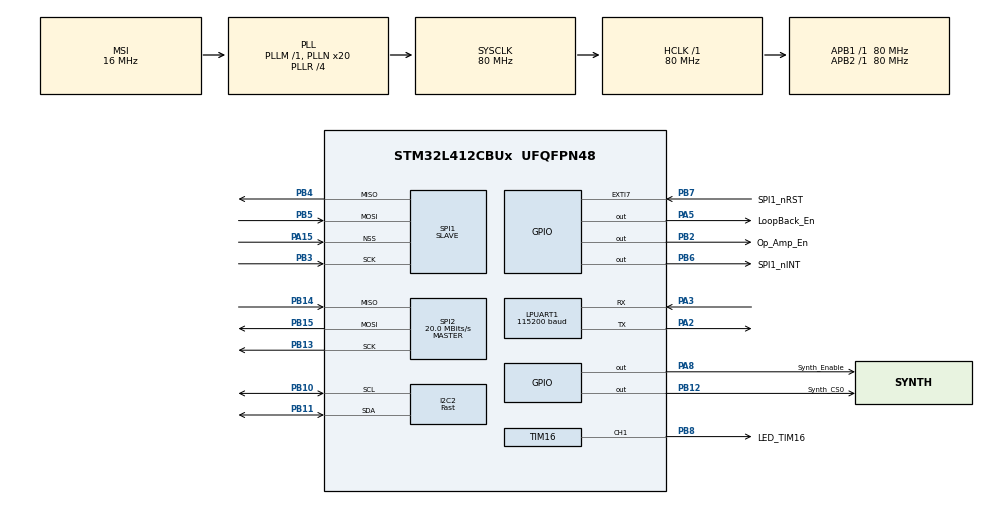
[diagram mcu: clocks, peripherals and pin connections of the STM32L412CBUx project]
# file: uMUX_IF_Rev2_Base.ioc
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Dma.LPUART_TX.0.Direction=DMA_MEMORY_TO_PERIPH
Dma.LPUART_TX.0.Instance=DMA2_Channel6
Dma.LPUART_TX.0.MemDataAlignment=DMA_MDATAALIGN_BYTE
Dma.LPUART_TX.0.MemInc=DMA_MINC_ENABLE
Dma.LPUART_TX.0.Mode=DMA_NORMAL
Dma.LPUART_TX.0.PeriphDataAlignment=DMA_PDATAALIGN_BYTE
Dma.LPUART_TX.0.PeriphInc=DMA_PINC_DISABLE
Dma.LPUART_TX.0.Priority=DMA_PRIORITY_LOW
Dma.Request0=LPUART_TX
Dma.Request1=SPI1_RX
Dma.Request2=SPI1_TX
Dma.Request3=SPI2_RX
Dma.Request4=SPI2_TX
Dma.SPI1_RX.1.Direction=DMA_PERIPH_TO_MEMORY
Dma.SPI1_RX.1.Instance=DMA1_Channel2
Dma.SPI1_RX.1.MemDataAlignment=DMA_MDATAALIGN_BYTE
Dma.SPI1_RX.1.MemInc=DMA_MINC_ENABLE
Dma.SPI1_RX.1.Mode=DMA_NORMAL
Dma.SPI1_RX.1.PeriphDataAlignment=DMA_PDATAALIGN_BYTE
Dma.SPI1_RX.1.PeriphInc=DMA_PINC_DISABLE
Dma.SPI1_RX.1.Priority=DMA_PRIORITY_HIGH
Dma.SPI1_TX.2.Direction=DMA_MEMORY_TO_PERIPH
Dma.SPI1_TX.2.Instance=DMA1_Channel3
Dma.SPI1_TX.2.MemDataAlignment=DMA_MDATAALIGN_BYTE
Dma.SPI1_TX.2.MemInc=DMA_MINC_ENABLE
Dma.SPI1_TX.2.Mode=DMA_NORMAL
Dma.SPI1_TX.2.PeriphDataAlignment=DMA_PDATAALIGN_BYTE
Dma.SPI1_TX.2.PeriphInc=DMA_PINC_DISABLE
Dma.SPI1_TX.2.Priority=DMA_PRIORITY_HIGH
Dma.SPI2_RX.3.Direction=DMA_PERIPH_TO_MEMORY
Dma.SPI2_RX.3.Instance=DMA1_Channel4
Dma.SPI2_RX.3.MemDataAlignment=DMA_MDATAALIGN_BYTE
Dma.SPI2_RX.3.MemInc=DMA_MINC_ENABLE
Dma.SPI2_RX.3.Mode=DMA_NORMAL
Dma.SPI2_RX.3.PeriphDataAlignment=DMA_PDATAALIGN_BYTE
Dma.SPI2_RX.3.PeriphInc=DMA_PINC_DISABLE
Dma.SPI2_RX.3.Priority=DMA_PRIORITY_LOW
Dma.SPI2_TX.4.Direction=DMA_MEMORY_TO_PERIPH
Dma.SPI2_TX.4.Instance=DMA1_Channel5
Dma.SPI2_TX.4.MemDataAlignment=DMA_MDATAALIGN_BYTE
Dma.SPI2_TX.4.MemInc=DMA_MINC_ENABLE
Dma.SPI2_TX.4.Mode=DMA_NORMAL
Dma.SPI2_TX.4.PeriphDataAlignment=DMA_PDATAALIGN_BYTE
Dma.SPI2_TX.4.PeriphInc=DMA_PINC_DISABLE
Dma.SPI2_TX.4.Priority=DMA_PRIORITY_LOW
I2C2.I2C_Speed_Mode=I2C_Fast
I2C2.NoStretchMode=I2C_NOSTRETCH_ENABLE
I2C2.Timing=0x00F12981
LPUART1.BaudRate=115200
Mcu.Family=STM32L4
Mcu.Name=STM32L412CBUx
Mcu.Package=UFQFPN48
NVIC.DMA1_Channel2_IRQn=true\:0\:0\:false\:false\:true\:false\:true\:true
NVIC.DMA1_Channel3_IRQn=true\:0\:0\:false\:false\:true\:false\:true\:true
NVIC.DMA1_Channel4_IRQn=true\:0\:0\:false\:false\:true\:false\:true\:true
NVIC.DMA1_Channel5_IRQn=true\:0\:0\:false\:false\:true\:false\:true\:true
NVIC.DMA2_Channel6_IRQn=true\:0\:0\:false\:false\:true\:false\:true\:true
NVIC.EXTI9_5_IRQn=true\:0\:0\:false\:false\:true\:true\:true\:true
NVIC.FLASH_IRQn=true\:0\:0\:false\:false\:true\:true\:true\:true
NVIC.I2C2_EV_IRQn=true\:0\:0\:false\:false\:true\:true\:true\:true
NVIC.LPUART1_IRQn=true\:0\:0\:false\:false\:true\:true\:true\:true
NVIC.PriorityGroup=NVIC_PRIORITYGROUP_4
NVIC.RCC_IRQn=true\:0\:0\:false\:false\:true\:true\:false\:true
NVIC.SPI1_IRQn=true\:0\:0\:false\:false\:true\:true\:true\:true
NVIC.TIM1_UP_TIM16_IRQn=true\:15\:0\:false\:false\:true\:false\:true\:true
NVIC.TIM6_IRQn=true\:0\:0\:false\:false\:true\:true\:true\:true
PA13\ (JTMS/SWDIO).Mode=Serial_Wire
PA13\ (JTMS/SWDIO).Signal=SYS_JTMS-SWDIO
PA14\ (JTCK/SWCLK).Mode=Serial_Wire
PA14\ (JTCK/SWCLK).Signal=SYS_JTCK-SWCLK
PA15\ (JTDI).GPIO_PuPd=GPIO_PULLUP
PA15\ (JTDI).Mode=NSS_Signal_Hard_Input
PA15\ (JTDI).Signal=SPI1_NSS
PA2.Mode=Asynchronous
PA2.Signal=LPUART1_TX
PA3.Mode=Asynchronous
PA3.Signal=LPUART1_RX
PA5.GPIO_Label=LoopBack_En
PA5.PinState=GPIO_PIN_RESET
PA5.Signal=GPIO_Output
PA8.GPIO_Label=Synth_Enable
PA8.PinState=GPIO_PIN_SET
PA8.Signal=GPIO_Output
PB10.Mode=I2C
PB10.Signal=I2C2_SCL
PB11.Mode=I2C
PB11.Signal=I2C2_SDA
PB12.GPIO_Label=Synth_CS0
PB12.GPIO_Speed=GPIO_SPEED_FREQ_HIGH
PB12.PinState=GPIO_PIN_SET
PB12.Signal=GPIO_Output
PB13.GPIO_Speed=GPIO_SPEED_FREQ_VERY_HIGH
PB13.Mode=Full_Duplex_Master
PB13.Signal=SPI2_SCK
PB14.GPIO_Speed=GPIO_SPEED_FREQ_VERY_HIGH
PB14.Mode=Full_Duplex_Master
PB14.Signal=SPI2_MISO
PB15.GPIO_Speed=GPIO_SPEED_FREQ_VERY_HIGH
PB15.Mode=Full_Duplex_Master
PB15.Signal=SPI2_MOSI
PB2.GPIO_Label=Op_Amp_En
PB2.PinState=GPIO_PIN_SET
PB2.Signal=GPIO_Output
PB3\ (JTDO/TRACESWO).Mode=Full_Duplex_Slave
PB3\ (JTDO/TRACESWO).Signal=SPI1_SCK
PB4\ (NJTRST).Mode=Full_Duplex_Slave
PB4\ (NJTRST).Signal=SPI1_MISO
PB5.Mode=Full_Duplex_Slave
PB5.Signal=SPI1_MOSI
PB6.GPIO_FM6=SYSCFG_FASTMODEPLUS_PB6
PB6.GPIO_Label=SPI1_nINT
PB6.GPIO_ModeDefaultOutputPP=GPIO_MODE_OUTPUT_OD
PB6.GPIO_PuPd=GPIO_PULLUP
PB6.GPIO_Speed=GPIO_SPEED_FREQ_VERY_HIGH
PB6.PinState=GPIO_PIN_SET
PB6.Signal=GPIO_Output
PB7.GPIO_Label=SPI1_nRST
PB7.GPIO_ModeDefaultEXTI=GPIO_MODE_IT_FALLING
PB7.GPIO_PuPd=GPIO_PULLUP
PB7.Signal=GPXTI7
PB8.GPIO_Label=LED_TIM16
PB8.Signal=S_TIM16_CH1
PC14-OSC32_IN\ (PC14).Mode=LSE-External-Clock-Source
PC14-OSC32_IN\ (PC14).Signal=RCC_OSC32_IN
ProjectManager.HeapSize=0x200
ProjectManager.StackSize=0x400
ProjectManager.TargetToolchain=STM32CubeIDE
RCC.ADCFreq_Value=80000000
RCC.AHBFreq_Value=80000000
RCC.APB1Freq_Value=80000000
RCC.APB1TimFreq_Value=80000000
RCC.APB2Freq_Value=80000000
RCC.APB2TimFreq_Value=80000000
RCC.CortexFreq_Value=80000000
RCC.HCLKFreq_Value=80000000
RCC.HSE_VALUE=8000000
RCC.HSI48_VALUE=48000000
RCC.HSI_VALUE=16000000
RCC.LPUART1CLockSelection=RCC_LPUART1CLKSOURCE_HSI
RCC.LSE_Timout=1000
RCC.LSE_VALUE=32768
RCC.MSIClockRange=RCC_MSIRANGE_8
RCC.MSI_VALUE=16000000
RCC.PLLN=20
RCC.PLLR=RCC_PLLR_DIV4
RCC.PREFETCH_ENABLE=1
RCC.SYSCLKFreq_VALUE=80000000
RCC.SYSCLKSource=RCC_SYSCLKSOURCE_PLLCLK
RCC.USBFreq_Value=16000000
RCC.VCOOutputFreq_Value=320000000
SH.S_TIM16_CH1.0=TIM16_CH1,PWM Generation1 CH1
SPI1.DataSize=SPI_DATASIZE_8BIT
SPI1.Direction=SPI_DIRECTION_2LINES
SPI1.Mode=SPI_MODE_SLAVE
SPI1.VirtualNSS=VM_NSSHARD
SPI1.VirtualType=VM_SLAVE
SPI2.BaudRatePrescaler=SPI_BAUDRATEPRESCALER_4
SPI2.CalculateBaudRate=20.0 MBits/s
SPI2.DataSize=SPI_DATASIZE_8BIT
SPI2.Direction=SPI_DIRECTION_2LINES
SPI2.Mode=SPI_MODE_MASTER
SPI2.NSSPMode=SPI_NSS_PULSE_DISABLE
SPI2.VirtualType=VM_MASTER
SYS.PVDLevel=PWR_PVDLEVEL_6
TIM16.AutoReloadPreload=TIM_AUTORELOAD_PRELOAD_ENABLE
TIM16.Channel=TIM_CHANNEL_1
TIM16.OC1Preload_PWM=ENABLE
TIM16.OCIdleState_1=TIM_OCIDLESTATE_SET
TIM16.OCMode_PWM=TIM_OCMODE_PWM1
TIM16.OCPolarity_1=TIM_OCPOLARITY_LOW
TIM16.Period=40
TIM16.Prescaler=40000
TIM16.Pulse=19
TIM6.AutoReloadPreload=TIM_AUTORELOAD_PRELOAD_ENABLE
TIM6.Period=20000
TIM6.Prescaler=40000
TIM6.TIM_MasterOutputTrigger=TIM_TRGO_ENABLE
VP_SYS_V_PVD_IN.Mode=Mode_PVD_Int
VP_TIM16_VS_ClockSourceINT.Mode=Enable_Timer
VP_TIM16_VS_OPM.Mode=OPM_bit
VP_TIM6_VS_ClockSourceINT.Mode=Enable_Timer
board=custom

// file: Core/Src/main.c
/* USER CODE BEGIN Header */
/**
  ******************************************************************************
  * @file           : main.c
  * @brief          : Main program body
  ******************************************************************************
  * @attention
  *
  * Copyright (c) 2024 STMicroelectronics.
  * All rights reserved.
  *
  * This software is licensed under terms that can be found in the LICENSE file
  * in the root directory of this software component.
  * If no LICENSE file comes with this software, it is provided AS-IS.
  *
  ******************************************************************************
  */
/* USER CODE END Header */
#include "main.h"
#include "dma.h"
#include "i2c.h"
#include "usart.h"
#include "spi.h"
#include "tim.h"
#include "gpio.h"

/* USER CODE BEGIN Includes */
#include "reg_map.h"
#include "pcb.h"
#include <string.h>	// Just for memcpy and memcmp
/* USER CODE END Includes */

/* USER CODE BEGIN PD */
//    Internal EEPROM Address
//#define INTEEPROM_BAR	0x080080000
#define INTEEPROM_BAR	FLASH_BASE + FLASH_BANK_SIZE - (FLASH_PAGE_SIZE * 2)
#define INTEEPROM_BOARD_INFO_BYTES 112
//	Defined to be 1kB only because we have so much ram on the chip
#define MAX_SPI_TRANSMISSION_SIZE 1024
#define TX_MEM_SIZE MAX_SPI_TRANSMISSION_SIZE + 1
#define RX_MEM_SIZE TX_MEM_SIZE
/* USER CODE END PD */

/* USER CODE BEGIN PV */
uint8_t rx_mem[RX_MEM_SIZE] = {0x00};
uint8_t tx_mem[TX_MEM_SIZE] = {0x00};

uint8_t cmd_val = 0x00;
uint8_t read_nWrite_bit = 0x0; // Read_not_Write bit, following I2C convention

HAL_StatusTypeDef status = HAL_OK;

volatile uint8_t overheat_flag = 0x00;		// Flag to state that the Synth has been turned off
volatile uint8_t reg_isr = 0x00;			// Not used
volatile uint8_t reg_isr_mask = 0x00;		// Not used
volatile uint8_t time_to_read_temp = 0x00;	// Flag that states to read the temperatures and compare the temp to threshold

uint8_t reg_synth_temp_thld[2] = {0xD4, 0x1C};
uint8_t reg_side_temp_thld[2] = {0xAF, 0x8A};

extern DMA_HandleTypeDef    hdma_spi1_tx;
extern I2C_HandleTypeDef    hi2c2;
extern SPI_HandleTypeDef    hspi1;
extern SPI_HandleTypeDef  	hspi2;

// nBytes is used for the SPI loop back command
uint32_t nBytes = 0x00;

/* USER CODE END PV */

void SystemClock_Config(void);
/* USER CODE BEGIN PFP */
void per_read_temperatures(void);
/* USER CODE END PFP */

int main(void)
{

  /* MCU Configuration--------------------------------------------------------*/

  /* Reset of all peripherals, Initializes the Flash interface and the Systick. */
  HAL_Init();

  /* Configure the system clock */
  SystemClock_Config();

  /* Initialize all configured peripherals */
  MX_GPIO_Init();
  MX_DMA_Init();
  MX_LPUART1_UART_Init();
  MX_SPI1_Init();
  MX_SPI2_Init();
  MX_TIM16_Init();
  MX_I2C2_Init();
  MX_TIM6_Init();
  /* USER CODE BEGIN 2 */

  /* Configure on board peripherals */
  HAL_TIM_OnePulse_Start(&htim16, TIM_CHANNEL_1);
  HAL_Delay(1000);
  __HAL_TIM_ENABLE(&htim16);
  HAL_Delay(1000);
  __HAL_TIM_ENABLE(&htim16);
  pcb_init();
  HAL_Delay(100);
  __HAL_TIM_ENABLE(&htim16);
  HAL_TIM_Base_Start_IT(&htim6);

  /* USER CODE END 2 */

  /* Infinite loop */
  /* USER CODE BEGIN WHILE */
  while (1)
  {
    status = HAL_SPI_TransmitReceive_DMA(&hspi1, &tx_mem[0], &rx_mem[0], CMD_SIZE_STD);
    if(status != HAL_OK)
    {
      while(hspi1.State != HAL_SPI_STATE_READY);
      status = HAL_SPI_TransmitReceive_DMA(&hspi1, &tx_mem[0], &rx_mem[0], CMD_SIZE_STD);
    }

    HAL_GPIO_WritePin(SPI1_nINT_GPIO_Port, SPI1_nINT_Pin, GPIO_PIN_SET);

    /* Wait for the Command to arrive */
    while(hspi1.State != HAL_SPI_STATE_READY)
    {
      if(time_to_read_temp)
      {
        per_read_temperatures();
      }
    }
    __HAL_TIM_ENABLE(&htim16);
    /* Perform pre-processing */
    cmd_val = rx_mem[0] >> 1;
    read_nWrite_bit = rx_mem[0] & 0x1;
    memset(tx_mem, 0x00, TX_MEM_SIZE);

    /* Process the command */
    switch(cmd_val)
    {
      case CMD_NULL:
        if(read_nWrite_bit)
        {
          tx_mem[0] = RET_VAL_READ_GOOD | overheat_flag;
          memcpy(&tx_mem[1], &rx_mem[0], 5);
        }
        else
        {
          tx_mem[0] = RET_VAL_WRITE_GOOD | overheat_flag;
          memcpy(&tx_mem[1], &rx_mem[0], 5);
        }
        status = HAL_SPI_Transmit_DMA(&hspi1, &tx_mem[0], CMD_SIZE_STD);
        if(status != HAL_OK)
        {
          Error_Handler();
        }
        HAL_GPIO_WritePin(SPI1_nINT_GPIO_Port, SPI1_nINT_Pin, GPIO_PIN_RESET);
        break;

      case CMD_ISR:
        if(read_nWrite_bit)
        {
          tx_mem[0] = RET_VAL_READ_GOOD | overheat_flag;
          tx_mem[1] = reg_isr;
        }
        else
        {
          tx_mem[0] = RET_VAL_WRITE_GOOD | overheat_flag;
          tx_mem[1] = reg_isr;
        }
        status = HAL_SPI_Transmit_DMA(&hspi1, &tx_mem[0], CMD_SIZE_STD);
        if(status != HAL_OK)
        {
          Error_Handler();
        }
        HAL_GPIO_WritePin(SPI1_nINT_GPIO_Port, SPI1_nINT_Pin, GPIO_PIN_RESET);
        break;

      case CMD_ISR_MASK:
        if(read_nWrite_bit)
        {
          tx_mem[0] = RET_VAL_READ_GOOD | overheat_flag;
          tx_mem[1] = reg_isr_mask;
        }
        else
        {
          reg_isr_mask = rx_mem[1];
          tx_mem[0] = RET_VAL_WRITE_GOOD | overheat_flag;
          tx_mem[1] = reg_isr_mask;
        }
        status = HAL_SPI_Transmit_DMA(&hspi1, &tx_mem[0], CMD_SIZE_STD);
        if(status != HAL_OK)
        {
          Error_Handler();
        }
        HAL_GPIO_WritePin(SPI1_nINT_GPIO_Port, SPI1_nINT_Pin, GPIO_PIN_RESET);
        break;

      case CMD_LOCAL_FW_IDN:
        if(read_nWrite_bit)
        {
          // Good command, return the number of bytes the software needs to read back for the next transaction
          tx_mem[0] = RET_VAL_READ_GOOD | overheat_flag;
          tx_mem[1] = sizeof(LOCAL_FW_IDN);
          status = HAL_SPI_Transmit_DMA(&hspi1, &tx_mem[0], CMD_SIZE_STD);
          if(status != HAL_OK)
          {
            Error_Handler();
          }
          // Let the commanding MCU know there is data ready
          HAL_GPIO_WritePin(SPI1_nINT_GPIO_Port, SPI1_nINT_Pin, GPIO_PIN_RESET);
          while(hspi1.State != HAL_SPI_STATE_READY); // Wait until all data is sent
          HAL_GPIO_WritePin(SPI1_nINT_GPIO_Port, SPI1_nINT_Pin, GPIO_PIN_SET);

          // Copy the Firmware ID to the buffer
          memcpy(&tx_mem[0], (uint8_t*)LOCAL_FW_IDN, sizeof(LOCAL_FW_IDN));

          // Transmit the FWID byte data buffer, let the loop finish the transaction
          status = HAL_SPI_Transmit_DMA(&hspi1, &tx_mem[0], sizeof(LOCAL_FW_IDN));
          if(status != HAL_OK)
          {
            Error_Handler();
          }
          // Let the commanding MCU know there is data ready
          HAL_GPIO_WritePin(SPI1_nINT_GPIO_Port, SPI1_nINT_Pin, GPIO_PIN_RESET);
        }
        else
        {
          tx_mem[0] = RET_VAL_INVALID_CMD | overheat_flag;
          status = HAL_SPI_Transmit_DMA(&hspi1, &tx_mem[0], 12);
          if(status != HAL_OK)
          {
            Error_Handler();
          }
          HAL_GPIO_WritePin(SPI1_nINT_GPIO_Port, SPI1_nINT_Pin, GPIO_PIN_RESET);
        }
        break;	// case CMD_LOCAL_FW_CID

      case CMD_LOCAL_FW_CID:
        if(read_nWrite_bit)
        {
          // Good command, return the number of bytes the software needs to read back for the next transaction
          tx_mem[0] = RET_VAL_READ_GOOD | overheat_flag;
          tx_mem[1] = 12;	// 96 bits or 12 Bytes
          status = HAL_SPI_Transmit_DMA(&hspi1, &tx_mem[0], CMD_SIZE_STD);
          if(status != HAL_OK)
          {
            Error_Handler();
          }
          // Let the commanding MCU know there is data ready
          HAL_GPIO_WritePin(SPI1_nINT_GPIO_Port, SPI1_nINT_Pin, GPIO_PIN_RESET);
          while(hspi1.State != HAL_SPI_STATE_READY); // Wait until all data is sent
          HAL_GPIO_WritePin(SPI1_nINT_GPIO_Port, SPI1_nINT_Pin, GPIO_PIN_SET);

          // Copy the Chip ID (AKA Device Unique ID) in to the tx_mem buffer
          memcpy(&tx_mem[0], (uint8_t*)UID_BASE, 12);	// BAR + 0x00 and 0x04

          // Transmit the 12 byte data buffer, let the loop finish the transaction
          status = HAL_SPI_Transmit_DMA(&hspi1, &tx_mem[0], 12);
          if(status != HAL_OK)
          {
            Error_Handler();
          }
          // Let the commanding MCU know there is data ready
          HAL_GPIO_WritePin(SPI1_nINT_GPIO_Port, SPI1_nINT_Pin, GPIO_PIN_RESET);
        }
        else
        {
          tx_mem[0] = RET_VAL_INVALID_CMD | overheat_flag;
          status = HAL_SPI_Transmit_DMA(&hspi1, &tx_mem[0], 12);
          if(status != HAL_OK)
          {
            Error_Handler();
          }
          HAL_GPIO_WritePin(SPI1_nINT_GPIO_Port, SPI1_nINT_Pin, GPIO_PIN_RESET);
        }

        break;	// case CMD_LOCAL_FW_CID

      case CMD_LOCAL_FW_BSN:
        if(read_nWrite_bit)
        {
          // Good command, return the number of bytes the software needs to read back for the next transaction
          tx_mem[0] = RET_VAL_READ_GOOD | overheat_flag;
          tx_mem[1] = 16; // Bytes
          status = HAL_SPI_Transmit_DMA(&hspi1, &tx_mem[0], CMD_SIZE_STD);
          if(status != HAL_OK)
          {
            Error_Handler();
          }
          // Let the commanding MCU know there is data ready
          HAL_GPIO_WritePin(SPI1_nINT_GPIO_Port, SPI1_nINT_Pin, GPIO_PIN_RESET);
          while(hspi1.State != HAL_SPI_STATE_READY);	// Wait until all data is sent
          HAL_GPIO_WritePin(SPI1_nINT_GPIO_Port, SPI1_nINT_Pin, GPIO_PIN_SET);

          // Copy first 16 bytes from the EEPROM which contain the board serial number
          // Create a 32bit pointer to index the tx_mem uint8 array
          uint32_t *tx_mem32ptr = (uint32_t *)tx_mem;
          for(int x = 0; x < (16 / 4); x++)
          {
            tx_mem32ptr[x] = *(__IO uint32_t *)(INTEEPROM_BAR + sizeof(uint32_t) * x);

          }

          // Transmit the 16 byte data buffer, let the loop finish the transaction
          status = HAL_SPI_Transmit_DMA(&hspi1, &tx_mem[0], 16);
          if(status != HAL_OK)
          {
            Error_Handler();
          }
          // Let the commanding MCU know there is data ready
          HAL_GPIO_WritePin(SPI1_nINT_GPIO_Port, SPI1_nINT_Pin, GPIO_PIN_RESET);
        }
        else
        {
          tx_mem[0] = RET_VAL_INVALID_CMD  | overheat_flag;
          status = HAL_SPI_Transmit_DMA(&hspi1, &tx_mem[0], CMD_SIZE_STD);
          if(status != HAL_OK)
          {
            Error_Handler();
          }
          HAL_GPIO_WritePin(SPI1_nINT_GPIO_Port, SPI1_nINT_Pin, GPIO_PIN_RESET);
        }
        break;	// case CMD_LOCAL_FW_BSN

      case CMD_LOCAL_FW_EEPROM:
        if(read_nWrite_bit)
        {
          // Good command, return the number of bytes the software needs to read back for the next transaction
          tx_mem[0] = RET_VAL_READ_GOOD  | overheat_flag;
          tx_mem[1] = INTEEPROM_BOARD_INFO_BYTES; // Bytes
          status = HAL_SPI_Transmit_DMA(&hspi1, &tx_mem[0], CMD_SIZE_STD);
          if(status != HAL_OK)
          {
            Error_Handler();
          }
          // Let the commanding MCU know there is data ready
          HAL_GPIO_WritePin(SPI1_nINT_GPIO_Port, SPI1_nINT_Pin, GPIO_PIN_RESET);
          while(hspi1.State != HAL_SPI_STATE_READY);	// Wait until all data is sent
          HAL_GPIO_WritePin(SPI1_nINT_GPIO_Port, SPI1_nINT_Pin, GPIO_PIN_SET);

          // Copy 112 bytes from the EEPROM
          // Create a 32bit pointer to index the tx_mem uint8 array
          uint32_t *tx_mem32ptr = (uint32_t *)tx_mem;
          for(int x = 0; x < (INTEEPROM_BOARD_INFO_BYTES / 4); x++)
          {
            tx_mem32ptr[x] = *(__IO uint32_t *)(INTEEPROM_BAR + sizeof(uint32_t) * x);

          }

          // Transmit the 16 byte data buffer, let the loop finish the transaction
          status = HAL_SPI_Transmit_DMA(&hspi1, &tx_mem[0], INTEEPROM_BOARD_INFO_BYTES);
          if(status != HAL_OK)
          {
            Error_Handler();
          }

          // Let the commanding MCU know there is data ready
          HAL_GPIO_WritePin(SPI1_nINT_GPIO_Port, SPI1_nINT_Pin, GPIO_PIN_RESET);
        }
        else
        {
          tx_mem[0] = RET_VAL_INVALID_CMD  | overheat_flag;
          status = HAL_SPI_Transmit_DMA(&hspi1, &tx_mem[0], CMD_SIZE_STD);
          if(status != HAL_OK)
          {
            Error_Handler();
          }
          HAL_GPIO_WritePin(SPI1_nINT_GPIO_Port, SPI1_nINT_Pin, GPIO_PIN_RESET);
        }

        break;	// case CMD_LOCAL_FW_EEPROM

      case CMD_LOCAL_LOOPBACK:
        if(read_nWrite_bit)
        {
          pcb_get_loopback_state(&tx_mem[1]);
          tx_mem[0] = RET_VAL_READ_GOOD  | overheat_flag;
        }
        else
        {
          pcb_set_loopback_state(&rx_mem[1]);
          tx_mem[0] = RET_VAL_WRITE_GOOD  | overheat_flag;
          pcb_get_loopback_state(&tx_mem[1]);
        }
        status = HAL_SPI_Transmit_DMA(&hspi1, &tx_mem[0], CMD_SIZE_STD);
        if(status != HAL_OK)
        {
          Error_Handler();
        }
        HAL_GPIO_WritePin(SPI1_nINT_GPIO_Port, SPI1_nINT_Pin, GPIO_PIN_RESET);
        break;

      case CMD_LOCAL_PIN_STATE:
        if(read_nWrite_bit)
        {
          tx_mem[0] = RET_VAL_READ_GOOD | overheat_flag;
          pcb_get_gpio_state(&tx_mem[1]);
        }
        else
        {
          pcb_set_gpio_state(&rx_mem[1]);
          tx_mem[0] = RET_VAL_WRITE_GOOD  | overheat_flag;
          pcb_get_gpio_state(&tx_mem[1]);
        }
        status = HAL_SPI_Transmit_DMA(&hspi1, &tx_mem[0], CMD_SIZE_STD);
        if(status != HAL_OK)
        {
          Error_Handler();
        }
        HAL_GPIO_WritePin(SPI1_nINT_GPIO_Port, SPI1_nINT_Pin, GPIO_PIN_RESET);
        break;

      case CMD_LOCAL_SOFT_RST:
        if(read_nWrite_bit)
        {
          tx_mem[0] = RET_VAL_INVALID_CMD;
        }
        else
        {
          if(memcmp(&rx_mem[1], &RST_MAGIC_NUM[0], 4) == 0)
          {
            /* Trigger a hardware MCU reset */
            HAL_NVIC_SystemReset();
          }
          else
          {
            tx_mem[0] = RET_VAL_INVALID_CMD;
          }
        }
        break;

      case CMD_TEMP_THLD:
        if(read_nWrite_bit)
        {
          tx_mem[0] = RET_VAL_READ_GOOD  | overheat_flag;
          tx_mem[1] = reg_synth_temp_thld[0];
          tx_mem[2] = reg_synth_temp_thld[1];
          tx_mem[3] = reg_side_temp_thld[0];
          tx_mem[4] = reg_side_temp_thld[1];
          overheat_flag = 0x00;
        }
        else
        {
          tx_mem[0] = RET_VAL_WRITE_GOOD  | overheat_flag;
          // Copy new values over from rx_mem
          reg_synth_temp_thld[0] = rx_mem[1];
          reg_synth_temp_thld[1] = rx_mem[2];
          reg_side_temp_thld[0] = rx_mem[3];
          reg_side_temp_thld[1] = rx_mem[4];
          // copy new values back to the tx_mem
          tx_mem[1] = reg_synth_temp_thld[0];
          tx_mem[2] = reg_synth_temp_thld[1];
          tx_mem[3] = reg_side_temp_thld[0];
          tx_mem[4] = reg_side_temp_thld[1];
        }
        status = HAL_SPI_Transmit_DMA(&hspi1, &tx_mem[0], CMD_SIZE_STD);
        if(status != HAL_OK)
        {
          Error_Handler();
        }
        HAL_GPIO_WritePin(SPI1_nINT_GPIO_Port, SPI1_nINT_Pin, GPIO_PIN_RESET);
        break;

      case CMD_TEMP_READ:
        if(read_nWrite_bit)
        {
          status = pcb_get_temp(&tx_mem[1]);
          if(status == HAL_OK)
          {
            tx_mem[0] = RET_VAL_READ_GOOD  | overheat_flag;
          }
          else
          {
            tx_mem[0] = RET_VAL_I2C_ADDR_NACK  | overheat_flag;
          }
        }
        else
        {
          tx_mem[0] = RET_VAL_INVALID_CMD  | overheat_flag;
        }
        status = HAL_SPI_Transmit_DMA(&hspi1, &tx_mem[0], CMD_SIZE_STD);
        if(status != HAL_OK)
        {
          Error_Handler();
        }
        HAL_GPIO_WritePin(SPI1_nINT_GPIO_Port, SPI1_nINT_Pin, GPIO_PIN_RESET);
        break;

      case CMD_NULLING_CTRL:
        if(read_nWrite_bit)
        {
          pcb_get_null_ctrl_state(&tx_mem[1]);
          tx_mem[0] = RET_VAL_READ_GOOD  | overheat_flag;
        }
        else
        {
          pcb_set_null_ctrl_state(&rx_mem[1]);
          pcb_get_null_ctrl_state(&tx_mem[1]);
          tx_mem[0] = RET_VAL_WRITE_GOOD  | overheat_flag;
        }
        status = HAL_SPI_Transmit_DMA(&hspi1, &tx_mem[0], CMD_SIZE_STD);
        if(status != HAL_OK)
        {
          Error_Handler();
        }
        HAL_GPIO_WritePin(SPI1_nINT_GPIO_Port, SPI1_nINT_Pin, GPIO_PIN_RESET);
        break;

      case CMD_NULLING_UP:
        if(read_nWrite_bit)
        {
          pcb_get_dac_up(&tx_mem[1]);
          tx_mem[0] = RET_VAL_READ_GOOD  | overheat_flag;
        }
        else
        {
          pcb_set_dac_up(&rx_mem[1]);
          pcb_get_dac_up(&tx_mem[1]);
          tx_mem[0] = RET_VAL_WRITE_GOOD  | overheat_flag;
        }
        status = HAL_SPI_Transmit_DMA(&hspi1, &tx_mem[0], CMD_SIZE_STD);
        if(status != HAL_OK)
        {
          Error_Handler();
        }
        HAL_GPIO_WritePin(SPI1_nINT_GPIO_Port, SPI1_nINT_Pin, GPIO_PIN_RESET);
        break;

      case CMD_NULLING_DN:
        if(read_nWrite_bit)
        {
          pcb_get_dac_dn(&tx_mem[1]);
          tx_mem[0] = RET_VAL_READ_GOOD  | overheat_flag;
        }
        else
        {
          pcb_set_dac_dn(&rx_mem[1]);
          pcb_get_dac_dn(&tx_mem[1]);
          tx_mem[0] = RET_VAL_WRITE_GOOD  | overheat_flag;
        }
        status = HAL_SPI_Transmit_DMA(&hspi1, &tx_mem[0], CMD_SIZE_STD);
        if(status != HAL_OK)
        {
          Error_Handler();
        }
        HAL_GPIO_WritePin(SPI1_nINT_GPIO_Port, SPI1_nINT_Pin, GPIO_PIN_RESET);
        break;

      case CMD_SYNTH_SR:
        if(read_nWrite_bit)
        {
          if(pcb_synth_status(&tx_mem[0]) == HAL_OK)
          {
            tx_mem[0] = RET_VAL_READ_GOOD  | overheat_flag;
          }
          else
          {
            tx_mem[0] = RET_VAL_BUSY  | overheat_flag;
          }
        }
        else
        {
          tx_mem[0] = RET_VAL_INVALID_CMD  | overheat_flag;
        }
        status = HAL_SPI_Transmit_DMA(&hspi1, &tx_mem[0], CMD_SIZE_STD);
        if(status != HAL_OK)
        {
          Error_Handler();
        }
        HAL_GPIO_WritePin(SPI1_nINT_GPIO_Port, SPI1_nINT_Pin, GPIO_PIN_RESET);
        break;

      case CMD_SYNTH_RST:
        if(read_nWrite_bit)
        {
          tx_mem[0] = RET_VAL_INVALID_CMD  | overheat_flag;
        }
        else
        {
          status = pcb_synth_rst();
          if(status != HAL_OK)
          {
            Error_Handler();
          }
          tx_mem[0] = RET_VAL_WRITE_GOOD  | overheat_flag;
        }
        status = HAL_SPI_Transmit_DMA(&hspi1, &tx_mem[0], CMD_SIZE_STD);
        if(status != HAL_OK)
        {
          Error_Handler();
        }
        HAL_GPIO_WritePin(SPI1_nINT_GPIO_Port, SPI1_nINT_Pin, GPIO_PIN_RESET);
        break;

      case CMD_SYNTH_INIT:
        status = pcb_init_synth();
        if(status != HAL_OK)
        {
          tx_mem[0] = RET_VAL_BUSY  | overheat_flag;
        }
        else
        {
          tx_mem[0] = RET_VAL_WRITE_GOOD  | overheat_flag;
        }

        status = HAL_SPI_Transmit_DMA(&hspi1, &tx_mem[0], CMD_SIZE_STD);
        if(status != HAL_OK)
        {
          Error_Handler();
        }
        HAL_GPIO_WritePin(SPI1_nINT_GPIO_Port, SPI1_nINT_Pin, GPIO_PIN_RESET);
        break;

      case CMD_SYNTH_WRITE:
        if(read_nWrite_bit)
        {
          if(pcb_synth_get_reg(&rx_mem[1], &tx_mem[0]) == HAL_OK)
          {
            tx_mem[0] = RET_VAL_READ_GOOD  | overheat_flag;
          }
          else
          {
            tx_mem[0] = RET_VAL_BUSY  | overheat_flag;
          }
        }
        else
        {
          if(pcb_synth_set_reg(&rx_mem[1], &tx_mem[0]) == HAL_OK)
          {
            tx_mem[0] = RET_VAL_WRITE_GOOD  | overheat_flag;
          }
          else
          {
            tx_mem[0] = RET_VAL_BUSY  | overheat_flag;
          }
        }
        status = HAL_SPI_Transmit_DMA(&hspi1, &tx_mem[0], CMD_SIZE_STD);
        if(status != HAL_OK)
        {
          Error_Handler();
        }
        HAL_GPIO_WritePin(SPI1_nINT_GPIO_Port, SPI1_nINT_Pin, GPIO_PIN_RESET);
        break;

      case CMD_SYNTH_REG_DUMP:
        if(read_nWrite_bit)
        {
          // Good command, return the number of bytes the software needs to read back for the next transaction
          tx_mem[0] = RET_VAL_READ_GOOD  | overheat_flag;
          tx_mem[1] = 65*3; // Bytes, 65 registers * 3 bytes per register [reg, data high, data low]
          status = HAL_SPI_Transmit_DMA(&hspi1, &tx_mem[0], CMD_SIZE_STD);
          if(status != HAL_OK)
          {
            Error_Handler();
          }
          // Let the commanding MCU know there is data ready
          HAL_GPIO_WritePin(SPI1_nINT_GPIO_Port, SPI1_nINT_Pin, GPIO_PIN_RESET);
          while(hspi1.State != HAL_SPI_STATE_READY);	// Wait until all data is sent
          HAL_GPIO_WritePin(SPI1_nINT_GPIO_Port, SPI1_nINT_Pin, GPIO_PIN_SET);

          // modify array
          for(int x = 0; x < 65; x += 1)
          {
            tx_mem[x*3] = x;	// What the SPI is going to receive from synth, and send back to SPI host
            rx_mem[x*3] = x;	// What the SPI is going to send to synth
            pcb_synth_get_reg(&rx_mem[x*3], &tx_mem[x*3]);
            // Set the reg number field to the reg number, ignore what the synth returns for this byte
            tx_mem[x*3] = x;
          }

          status = HAL_SPI_Transmit_DMA(&hspi1, &tx_mem[0], 65*3);
          if(status != HAL_OK)
          {
            Error_Handler();
          }
          // Let the commanding MCU know there is data ready
          HAL_GPIO_WritePin(SPI1_nINT_GPIO_Port, SPI1_nINT_Pin, GPIO_PIN_RESET);
        }
        else
        {
          tx_mem[0] = RET_VAL_INVALID_CMD  | overheat_flag;
          status = HAL_SPI_Transmit_DMA(&hspi1, &tx_mem[0], CMD_SIZE_STD);
          if(status != HAL_OK)
          {
            Error_Handler();
          }
          HAL_GPIO_WritePin(SPI1_nINT_GPIO_Port, SPI1_nINT_Pin, GPIO_PIN_RESET);
        }
        break;

      case CMD_I2C_IF:
        if(read_nWrite_bit)
        {
          status = HAL_I2C_Mem_Read(&hi2c2, rx_mem[1] << 1, (uint16_t)rx_mem[2], 1, &tx_mem[1], 2, 2000);
          if(status == HAL_OK)
          {
            tx_mem[0] = RET_VAL_READ_GOOD  | overheat_flag;
            // Data is already in the buffer
          }
          else
          {
            tx_mem[0] = RET_VAL_I2C_ADDR_NACK  | overheat_flag;
          }
        }
        else
        {
          status = HAL_I2C_Master_Transmit(&hi2c2, rx_mem[1] << 1, &rx_mem[2], 3, 2000);
          if(status == HAL_OK)
          {
            tx_mem[0] = RET_VAL_WRITE_GOOD  | overheat_flag;
            // Data is already in the buffer
          }
          else
          {
            tx_mem[0] = RET_VAL_I2C_ADDR_NACK  | overheat_flag;
          }
        }
        status = HAL_SPI_Transmit_DMA(&hspi1, &tx_mem[0], CMD_SIZE_STD);
        if(status != HAL_OK)
        {
          Error_Handler();
        }
        HAL_GPIO_WritePin(SPI1_nINT_GPIO_Port, SPI1_nINT_Pin, GPIO_PIN_RESET);
        break;

      case CMD_SPI_LOOPBACK:
        // Copy The number of bytes over, this will be the expected number for each transaction
        nBytes = rx_mem[1];
        // Send a return response back to the user, once complete then start loopback
        tx_mem[0] = RET_VAL_WRITE_GOOD;
        status = HAL_SPI_Transmit_DMA(&hspi1, &tx_mem[0], CMD_SIZE_STD);
        if(status != HAL_OK)
        {
          Error_Handler();
        }
        HAL_GPIO_WritePin(SPI1_nINT_GPIO_Port, SPI1_nINT_Pin, GPIO_PIN_RESET);
        while(hspi1.State != HAL_SPI_STATE_READY);
        __HAL_TIM_ENABLE(&htim16);
        HAL_GPIO_WritePin(SPI1_nINT_GPIO_Port, SPI1_nINT_Pin, GPIO_PIN_SET);

        //Initial data grab of nBytes, after this is will be bi-directional
        status = HAL_SPI_Receive_DMA(&hspi1, &rx_mem[0], nBytes);
        if(status != HAL_OK)
        {
          Error_Handler();
        }
        HAL_GPIO_WritePin(SPI1_nINT_GPIO_Port, SPI1_nINT_Pin, GPIO_PIN_RESET);
        while(hspi1.State != HAL_SPI_STATE_READY);
        __HAL_TIM_ENABLE(&htim16);
        HAL_GPIO_WritePin(SPI1_nINT_GPIO_Port, SPI1_nINT_Pin, GPIO_PIN_SET);

        // First byte needs to be the value for CMD_SPI_LOOPBACK, if it isn't, break
        while((rx_mem[0] >> 1) == CMD_SPI_LOOPBACK)
        {
          memcpy(&tx_mem[0], &rx_mem[0], nBytes);
          tx_mem[0] = RET_VAL_WRITE_GOOD;
          status = HAL_SPI_TransmitReceive_DMA(&hspi1, &tx_mem[0], &rx_mem[0], nBytes);
          if(status != HAL_OK)
          {
            Error_Handler();
          }
          HAL_GPIO_WritePin(SPI1_nINT_GPIO_Port, SPI1_nINT_Pin, GPIO_PIN_RESET);
          while(hspi1.State != HAL_SPI_STATE_READY); // Wait until all data is sent
          __HAL_TIM_ENABLE(&htim16);
          HAL_GPIO_WritePin(SPI1_nINT_GPIO_Port, SPI1_nINT_Pin, GPIO_PIN_SET);
        }
        break;

      case CMD_PROG_EEPROM:
        if(read_nWrite_bit)
        {
          // Read the EEPROM
          // Good command, return the number of bytes the software needs to read back for the next transaction
          tx_mem[0] = RET_VAL_READ_GOOD  | overheat_flag;
          tx_mem[1] = INTEEPROM_BOARD_INFO_BYTES; // Bytes
          status = HAL_SPI_Transmit_DMA(&hspi1, &tx_mem[0], CMD_SIZE_STD);
          if(status != HAL_OK)
          {
            Error_Handler();
          }
          // Let the commanding MCU know there is data ready
          HAL_GPIO_WritePin(SPI1_nINT_GPIO_Port, SPI1_nINT_Pin, GPIO_PIN_RESET);
          while(hspi1.State != HAL_SPI_STATE_READY);	// Wait until all data is sent
          HAL_GPIO_WritePin(SPI1_nINT_GPIO_Port, SPI1_nINT_Pin, GPIO_PIN_SET);

          // Copy 112 bytes from the EEPROM
          // Create a 32bit pointer to index the tx_mem uint8 array
          uint32_t *tx_mem32ptr = (uint32_t *)tx_mem;
          for(int x = 0; x < (INTEEPROM_BOARD_INFO_BYTES / 4); x++)
          {
            tx_mem32ptr[x] = *(__IO uint32_t *)(INTEEPROM_BAR + sizeof(uint32_t)* x);
          }

          // Transmit the 112 byte data buffer, let the loop finish the transaction
          status = HAL_SPI_Transmit_DMA(&hspi1, &tx_mem[0], INTEEPROM_BOARD_INFO_BYTES);
          if(status != HAL_OK)
          {
            Error_Handler();
          }

          // Let the commanding MCU know there is data ready
          HAL_GPIO_WritePin(SPI1_nINT_GPIO_Port, SPI1_nINT_Pin, GPIO_PIN_RESET);
        }
        else
        {
          if(rx_mem[1] == INTEEPROM_BOARD_INFO_BYTES)
          {
            // Write the EEPROM
            // Create structures and variables to program the flash
            uint32_t page_error = 0;
            static FLASH_EraseInitTypeDef EraseInitStruct;
            EraseInitStruct.TypeErase   = FLASH_TYPEERASE_PAGES;
            EraseInitStruct.NbPages     = 1;
            if (INTEEPROM_BAR < (FLASH_BASE + FLASH_BANK_SIZE))
            {
              /* Bank 1 */
              EraseInitStruct.Page	= (INTEEPROM_BAR - FLASH_BASE) / FLASH_PAGE_SIZE;
              EraseInitStruct.Banks	= FLASH_BANK_1;
            }

            tx_mem[0] = RET_VAL_WRITE_GOOD;
            tx_mem[1] = INTEEPROM_BOARD_INFO_BYTES;
            status = HAL_SPI_Transmit_DMA(&hspi1, &tx_mem[0], CMD_SIZE_STD);

            // Let the commanding MCU know there is data ready
            HAL_GPIO_WritePin(SPI1_nINT_GPIO_Port, SPI1_nINT_Pin, GPIO_PIN_RESET);
            while(hspi1.State != HAL_SPI_STATE_READY);	// Wait until all data is sent
            HAL_GPIO_WritePin(SPI1_nINT_GPIO_Port, SPI1_nINT_Pin, GPIO_PIN_SET);

            // Prepare to receive the incoming EEPROM data
            status = HAL_SPI_Receive_DMA(&hspi1, &rx_mem[0], INTEEPROM_BOARD_INFO_BYTES);
            if(status != HAL_OK)
            {
              Error_Handler();
            }

//            HAL_GPIO_WritePin(SPI1_nINT_GPIO_Port, SPI1_nINT_Pin, GPIO_PIN_RESET);
            while(hspi1.State != HAL_SPI_STATE_READY);
            __HAL_TIM_ENABLE(&htim16);
            HAL_GPIO_WritePin(SPI1_nINT_GPIO_Port, SPI1_nINT_Pin, GPIO_PIN_SET);

            // Now we have the data, write it to the internal EEPROM
            HAL_FLASH_Unlock();
            __HAL_FLASH_CLEAR_FLAG(FLASH_FLAG_OPTVERR);
            __HAL_FLASH_CLEAR_FLAG(FLASH_FLAG_EOP | FLASH_FLAG_OPERR | FLASH_FLAG_WRPERR | FLASH_FLAG_PGAERR | FLASH_FLAG_PGSERR );

            // Erase the flash page
            HAL_FLASHEx_Erase(&EraseInitStruct, &page_error);

            // Must write to the flash in chunks of 8 Bytes
            uint64_t *rx_mem64ptr = (uint64_t *)rx_mem;
            for(int x = 0; x < (INTEEPROM_BOARD_INFO_BYTES / 8); x++)
            {
              // status = HAL_DATA_EEPROMEx_Program(FLASH_TYPEPROGRAMDATA_BYTE, INTEEPROM_BAR + x, rx_mem[x]);
              // Set to index the rx_mem by 64bit chunks and then the address where it is writing by 64bit chunks (8 bytes)
              status = HAL_FLASH_Program(FLASH_TYPEPROGRAM_DOUBLEWORD, INTEEPROM_BAR + (x * 8), rx_mem64ptr[x]);
              if(status != HAL_OK)
              {
                tx_mem[0] = RET_VAL_WRITE_GOOD;
                tx_mem[2] = x;
                tx_mem[3] = 0xFA;
                tx_mem[4] = 0x11;
                break;
              }
            }

            HAL_FLASH_Lock();

            if(status == HAL_OK)
            {
              tx_mem[0] = RET_VAL_WRITE_GOOD;
              tx_mem[1] = INTEEPROM_BOARD_INFO_BYTES;
            }

            // send response
            status = HAL_SPI_Transmit_DMA(&hspi1, &tx_mem[0], CMD_SIZE_STD);
            if(status != HAL_OK)
            {
              Error_Handler();
            }
            HAL_GPIO_WritePin(SPI1_nINT_GPIO_Port, SPI1_nINT_Pin, GPIO_PIN_RESET);
          }
          else
          {
            tx_mem[0] = RET_VAL_INVALID_CMD  | overheat_flag;
            tx_mem[1] = INTEEPROM_BOARD_INFO_BYTES;

            // send response
            status = HAL_SPI_Transmit_DMA(&hspi1, &tx_mem[0], CMD_SIZE_STD);
            if(status != HAL_OK)
            {
              Error_Handler();
            }
            HAL_GPIO_WritePin(SPI1_nINT_GPIO_Port, SPI1_nINT_Pin, GPIO_PIN_RESET);
          }	// if(rx_mem[1] == INTEEPROM_BOARD_INFO_BYTES)
        }	// if(read_nWrite_bit)
        break;	// case CMD_LOCAL_FW_EEPROM

      default:
        tx_mem[0] = RET_VAL_INVALID_CMD;
        memcpy(&tx_mem[1], &rx_mem[0], 5);
        status = HAL_SPI_Transmit_DMA(&hspi1, &tx_mem[0], CMD_SIZE_STD);
        if(status != HAL_OK)
        {
          Error_Handler();
        }
        HAL_GPIO_WritePin(SPI1_nINT_GPIO_Port, SPI1_nINT_Pin, GPIO_PIN_RESET);
        break; // case default
    }

    /* USER CODE END WHILE */

  }
}

void SystemClock_Config(void)
{
  RCC_OscInitTypeDef RCC_OscInitStruct = {0};
  RCC_ClkInitTypeDef RCC_ClkInitStruct = {0};

  /** Configure the main internal regulator output voltage
  */
  if (HAL_PWREx_ControlVoltageScaling(PWR_REGULATOR_VOLTAGE_SCALE1) != HAL_OK)
  {
    Error_Handler();
  }

  /** Initializes the RCC Oscillators according to the specified parameters
  * in the RCC_OscInitTypeDef structure.
  */
  RCC_OscInitStruct.OscillatorType = RCC_OSCILLATORTYPE_HSI|RCC_OSCILLATORTYPE_LSE
                              |RCC_OSCILLATORTYPE_MSI;
  RCC_OscInitStruct.LSEState = RCC_LSE_BYPASS;
  RCC_OscInitStruct.HSIState = RCC_HSI_ON;
  RCC_OscInitStruct.HSICalibrationValue = RCC_HSICALIBRATION_DEFAULT;
  RCC_OscInitStruct.MSIState = RCC_MSI_ON;
  RCC_OscInitStruct.MSICalibrationValue = 0;
  RCC_OscInitStruct.MSIClockRange = RCC_MSIRANGE_8;
  RCC_OscInitStruct.PLL.PLLState = RCC_PLL_ON;
  RCC_OscInitStruct.PLL.PLLSource = RCC_PLLSOURCE_MSI;
  RCC_OscInitStruct.PLL.PLLM = 1;
  RCC_OscInitStruct.PLL.PLLN = 20;
  RCC_OscInitStruct.PLL.PLLQ = RCC_PLLQ_DIV2;
  RCC_OscInitStruct.PLL.PLLR = RCC_PLLR_DIV4;
  if (HAL_RCC_OscConfig(&RCC_OscInitStruct) != HAL_OK)
  {
    Error_Handler();
  }

  /** Initializes the CPU, AHB and APB buses clocks
  */
  RCC_ClkInitStruct.ClockType = RCC_CLOCKTYPE_HCLK|RCC_CLOCKTYPE_SYSCLK
                              |RCC_CLOCKTYPE_PCLK1|RCC_CLOCKTYPE_PCLK2;
  RCC_ClkInitStruct.SYSCLKSource = RCC_SYSCLKSOURCE_PLLCLK;
  RCC_ClkInitStruct.AHBCLKDivider = RCC_SYSCLK_DIV1;
  RCC_ClkInitStruct.APB1CLKDivider = RCC_HCLK_DIV1;
  RCC_ClkInitStruct.APB2CLKDivider = RCC_HCLK_DIV1;

  if (HAL_RCC_ClockConfig(&RCC_ClkInitStruct, FLASH_LATENCY_4) != HAL_OK)
  {
    Error_Handler();
  }

  /** Enable MSI Auto calibration
  */
  HAL_RCCEx_EnableMSIPLLMode();
}

/* USER CODE BEGIN 4 */
// Timer handler for Tim7 which just tells the MCU when to read some temperatures
void HAL_TIM_PeriodElapsedCallback(TIM_HandleTypeDef* htim)
{
  time_to_read_temp = 1;
  __HAL_TIM_DISABLE(&htim6);
}

void per_read_temperatures(void)
{
  uint8_t temp_array[4] = {0x00};
  uint16_t synth_temp = 0x00;
  uint16_t synth_temp_thres = 0x00;
  uint16_t side_temp = 0x00;
  uint16_t side_temp_thres = 0x00;
  pcb_get_temp(&temp_array[0]);
  synth_temp = (temp_array[0] << 8) | temp_array[1];
  side_temp = (temp_array[2] << 8) | temp_array[3];
  synth_temp_thres = reg_synth_temp_thld[1] << 8 | reg_synth_temp_thld[0];
  side_temp_thres = reg_side_temp_thld[1] << 8 | reg_side_temp_thld[0];

  if((side_temp > side_temp_thres) | (synth_temp > synth_temp_thres))
  {
    //		pcb_synth_shutdown();
    overheat_flag = 0x80;
  }

  time_to_read_temp = 0;
  __HAL_TIM_ENABLE(&htim16);	// LED timer
  __HAL_TIM_ENABLE(&htim6);		// Periodic Check Timer
}

void HAL_GPIO_EXTI_Callback(uint16_t GPIO_Pin)
{
  if(GPIO_Pin == SPI1_nRST_Pin)
  {
    // If the spi chip select line is low when the reset line goes low, then reset the MCU
    if(HAL_GPIO_ReadPin(GPIOA, GPIO_PIN_15) == GPIO_PIN_RESET)
    {
      HAL_NVIC_SystemReset();
    }
  }
}
/* USER CODE END 4 */

void Error_Handler(void)
{
  __disable_irq();
  while (1)
  {
  }
}
